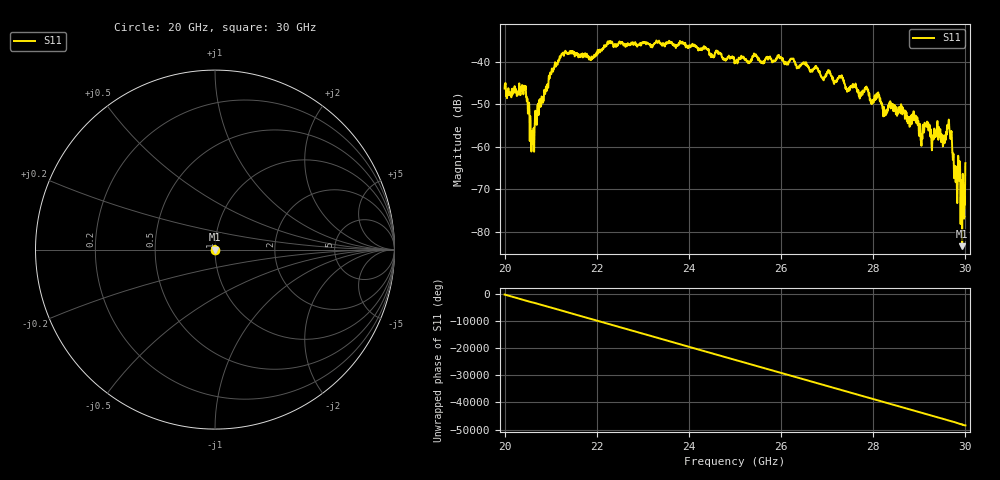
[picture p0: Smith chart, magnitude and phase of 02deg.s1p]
#  HZ  S  RI  R  50.00
! Rohde & Schwarz ZVA40 4Ports - Version 3.90 - 1145.1110k42 SN: 100403
! Date: 2023-10-03 12:38:04
! Measurement: S12
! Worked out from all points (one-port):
!   5001 points, 20 GHz to 30 GHz, reference 50 ohm
!   lowest |S11| = -83.4 dB at 29.93 GHz (marker M1), VSWR 1.00, Z = 50 + j0.00348 ohm
!   |S11| at or under -10 dB: start of sweep to end of sweep
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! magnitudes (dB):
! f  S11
! 20 GHz  -46.3
! 20.42 GHz  -45.6
! 20.61 GHz  -57.3
! 20.76 GHz  -49.3
! 21.25 GHz  -38.3
! 21.88 GHz  -38.9
! 22.5 GHz  -35.4
! 23.75 GHz  -36.1
! 25 GHz  -39.9
! 26.25 GHz  -39.3
! 27.5 GHz  -46.2
! 27.85 GHz  -46.3
! 27.97 GHz  -49.7
! 28.12 GHz  -47.7
! 28.25 GHz  -51.4
! 28.38 GHz  -51.0
! 28.75 GHz  -54.5
! 28.92 GHz  -53.2
! 29.04 GHz  -58.1
! 29.18 GHz  -54.5
! 29.31 GHz  -58.0
! 29.41 GHz  -58.4
! 29.52 GHz  -59.1
! 29.65 GHz  -55.8
! 29.78 GHz  -65.6
! 29.84 GHz  -63.2
! 29.93 GHz  -83.4
! 30 GHz  -63.9
